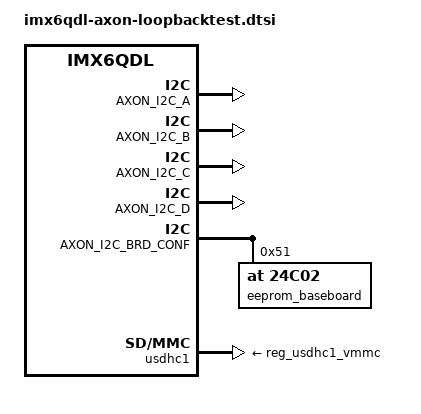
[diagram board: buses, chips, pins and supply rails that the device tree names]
/*
 * Copyright 2019 Technexion Ltd.
 *
 * Author:  John Weber <john.weber@technexion.com>
 *
 * This program is free software; you can redistribute it and/or modify
 * it under the terms of the GNU General Public License version 2 as
 * published by the Free Software Foundation.
 *
 * Axon device tree configurations for i.MX6QDL for internal
 * loopback testing between the axon fabric and the i.MX6 SOC.
 *
 */

/ {

	aliases {
		i2c0 = &AXON_I2C_A;
		i2c1 = &AXON_I2C_B;
		i2c2 = &AXON_I2C_C;
		i2c3 = &AXON_I2C_D;
		i2c4 = &AXON_I2C_BRD_CONF;
		uart0 = &AXON_UART_A;
		uart1 = &AXON_UART_B;
		uart3 = &AXON_UART_C;
		uart4 = &AXON_UART_BT;
    };

	regulators {

		reg_usb_otg_vbus: usb_otg_vbus {
			pinctrl-names = "default";
			pinctrl-0 = <&pinctrl_otg_vbus>;
			compatible = "regulator-fixed";
			regulator-name = "usb_otg_vbus";
			regulator-min-microvolt = <5000000>;
			regulator-max-microvolt = <5000000>;
			gpio = <AXON_EXT_GPIO_X1_P66 GPIO_ACTIVE_LOW>;
			enable-active-low;
		};
	};

	sound-hdmi {
		status = "disabled";
	};

	backlight_lvds {
		status = "disabled";
	};

	/* Turn off LCD interface as we do not support this on Axon-Pi */
	lcd@0 {
        	status = "disabled";
	};
};

&iomuxc {
	imx6qdl-axon {

		pinctrl_otg_vbus: otgvbusgrp {
			fsl,pins = <
				MX6QDL_PAD_EIM_A24__GPIO5_IO04	    0x4001b0b5  /* GPIO_X1_P66 */
			>;
		};

		pinctrl_loopback_test: loopbacktestgrp {
			fsl,pins = <
				MX6QDL_PAD_GPIO_9__GPIO1_IO09	    0x4001b0b5  /* PWM_X1_P39 */
				MX6QDL_PAD_GPIO_1__GPIO1_IO01	    0x4001b0b5  /* PWM_X2_P79 */
				MX6QDL_PAD_SD4_DAT1__GPIO2_IO09		0x4001b0b5  /* PWM_X4_P1 */
				MX6QDL_PAD_SD4_DAT2__GPIO2_IO10		0x4001b0b5  /* PWM_X4_P2 */
				MX6QDL_PAD_SD4_DAT7__GPIO2_IO15		0x4001b0b5  /* UART_B_TXD */
				MX6QDL_PAD_SD4_DAT6__GPIO2_IO14 	0x4001b0b5  /* UART_B_CTS */
				MX6QDL_PAD_SD4_DAT5__GPIO2_IO13 	0x4001b0b5  /* UART_B_RTS */
				MX6QDL_PAD_SD4_DAT4__GPIO2_IO12 	0x4001b0b5  /* UART_B_RXD */
				MX6QDL_PAD_CSI0_DAT12__GPIO5_IO30	0x4001b0b5  /* UART_C_RXD */
				MX6QDL_PAD_CSI0_DAT13__GPIO5_IO31	0x4001b0b5  /* UART_C_TXD */
				MX6QDL_PAD_CSI0_DAT14__GPIO6_IO00	0x4001b0b5  /* UART_BT_RXD */
				MX6QDL_PAD_CSI0_DAT15__GPIO6_IO01	0x4001b0b5  /* UART_BT_TXD */
				MX6QDL_PAD_CSI0_DAT16__GPIO6_IO02	0x4001b0b5  /* UART_C_CTS */
				MX6QDL_PAD_CSI0_DAT17__GPIO6_IO03	0x4001b0b5  /* UART_C_RTS */
				MX6QDL_PAD_CSI0_DAT18__GPIO6_IO04	0x4001b0b5  /* UART_BT_CTS */
				MX6QDL_PAD_CSI0_DAT19__GPIO6_IO05	0x4001b0b5  /* UART_BT_RTS */
				MX6QDL_PAD_EIM_CS0__GPIO2_IO23		0x4001b0b5  /* SPI_A_SCLK */
				MX6QDL_PAD_EIM_CS1__GPIO2_IO24		0x4001b0b5  /* SPI_A_MOSI */
				MX6QDL_PAD_EIM_OE__GPIO2_IO25 		0x4001b0b5  /* SPI_A_MISO */
				MX6QDL_PAD_EIM_RW__GPIO2_IO26 		0x4001b0b5  /* SPI_A_CS0 */
				MX6QDL_PAD_EIM_LBA__GPIO2_IO27 		0x4001b0b5  /* SPI_A_CS1 */
				MX6QDL_PAD_EIM_D21__GPIO3_IO21 		0x4001b0b5  /* SPI_B_SCLK */
				MX6QDL_PAD_EIM_D28__GPIO3_IO28 		0x4001b0b5  /* SPI_B_MOSI */
				MX6QDL_PAD_EIM_D22__GPIO3_IO22 		0x4001b0b5  /* SPI_B_MISO */
				MX6QDL_PAD_EIM_D29__GPIO3_IO29 		0x4001b0b5  /* SPI_B_CS0 */
				MX6QDL_PAD_EIM_A25__GPIO5_IO02 		0x4001b0b5  /* SPI_B_CS1 */
				MX6QDL_PAD_CSI0_DAT4__GPIO5_IO22    0x4001b0b5  /* AUD_A_TXCLK */
				MX6QDL_PAD_CSI0_DAT5__GPIO5_IO23    0x4001b0b5  /* AUD_A_TXD */
				MX6QDL_PAD_CSI0_DAT6__GPIO5_IO24    0x4001b0b5  /* AUD_A_TXFS */
				MX6QDL_PAD_CSI0_DAT7__GPIO5_IO25    0x4001b0b5  /* AUD_A_RXD */
				MX6QDL_PAD_KEY_COL0__GPIO4_IO06     0x4001b0b5  /* AUD_B_TXC */
				MX6QDL_PAD_KEY_ROW0__GPIO4_IO07     0x4001b0b5  /* AUD_B_TXD */
				MX6QDL_PAD_KEY_COL1__GPIO4_IO08     0x4001b0b5  /* AUD_B_TXFS */
				MX6QDL_PAD_KEY_ROW1__GPIO4_IO09     0x4001b0b5  /* AUD_B_RXD */
				MX6QDL_PAD_EIM_D24__GPIO3_IO24      0x4001b0b5  /* AUD_B_RXFS */
				MX6QDL_PAD_EIM_D25__GPIO3_IO25      0x4001b0b5  /* AUD_B_RXC */
				MX6QDL_PAD_GPIO_0__GPIO1_IO00       0x4001b0b5  /* AUD_B_MCLK */
			>;
		};
	};
};

&reg_usb_otg_vbus {
	status = "disabled";
};

&usbotg {
	status = "disabled";
};

&AXON_I2C_A {
	status = "okay";
};

&AXON_I2C_B {
  	status = "okay";
};

&AXON_I2C_C {
	status = "okay";
};

&AXON_I2C_D {
	status = "okay";
};

&axonfabric {
	pinctrl-0 = <&pinctrl_fabric_reset
				&pinctrl_gpio_x1_p66
				&pinctrl_gpio_x1_p68
				&pinctrl_gpio_x1_p70
				&pinctrl_gpio_x1_p72
				&pinctrl_gpio_x1_p74
				&pinctrl_gpio_x1_p76
				&pinctrl_gpio_x1_p78
				&pinctrl_gpio_x1_p80
				&pinctrl_loopback_test
				>;
//                                0    1    2    3    4    5    6    7    8    9   10   11   12
	iob-enable =      /bits/ 8 <0x00 0x00 0x00 0x00 0x00 0x00 0x00 0x00 0x00 0x00 0x00 0x00 0x00>;
	iob-pushpull =    /bits/ 8 <0xFF 0xFF 0xFF 0xFF 0xFF 0xFF 0xFF 0xFF 0xFF 0xFF 0xFF 0xFF 0xFF>;
	iob-direction =   /bits/ 8 <0xFF 0xFF 0xFF 0xFF 0xFF 0xFF 0xFF 0xFF 0xFF 0xFF 0xFF 0xFF 0xFF>;
	iob-selection-0 = /bits/ 8 <0xFF 0xFF 0xFF 0xFF 0xFF 0xFF 0xFF 0xFF 0xFF 0xFF 0xFF 0xFF 0xFF>;
	iob-selection-1 = /bits/ 8 <0xFF 0xFF 0xFF 0xFF 0xFF 0xFF 0xFF 0xFF 0xFF 0xFF 0xFF 0xFF 0xFF>;
 	lock-direction;
};

&AXON_I2C_BRD_CONF {
	status = "okay";

	eeprom_baseboard: eeprom@51 {
		compatible = "at,24c02";
		reg = <0x51>;
	};
};

&AXON_UART_B {
	status = "disabled";
};

&AXON_UART_C {
	status = "disabled";
};

&AXON_UART_BT {
	status = "disabled";
};

&AXON_CAN_A {
	status = "disabled";
};

&AXON_CAN_B {
	status = "disabled";
};

&AXON_SPI_A {
	status = "disabled";
};

&AXON_SPI_B {
	status = "disabled";
};

&ldb {
	status = "disabled";
};

&hdmi_audio {
	status = "disabled";
};

&hdmi_core {
	status = "disabled";
};

&hdmi_video {
	status = "disabled";
};

/* Baseboard microSD slot */
&reg_usdhc1_vmmc {
	status = "okay";
};

&usdhc1 {
	vmmc-supply = <&reg_usdhc1_vmmc>;
	status = "okay";
};

&pcie {
	status = "disabled";
};

&pwm1  {
	status = "disabled";
};

&pwm2 {
	status = "disabled";
};

&pwm3  {
	status = "disabled";
};

&pwm4  {
	status = "disabled";
};

